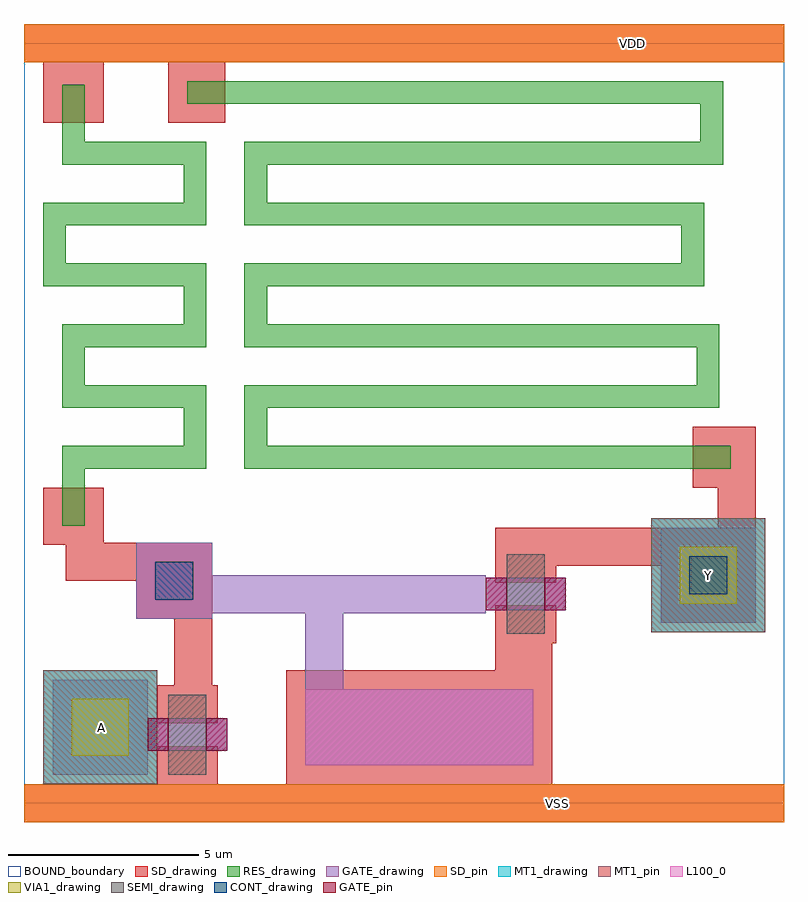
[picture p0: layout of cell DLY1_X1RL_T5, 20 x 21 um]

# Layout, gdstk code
from math import pi, radians
import gdstk
lib = gdstk.Library(unit=1e-6, precision=1e-09)
def R(c, l, rs):  # rectangles x0, y0, x1, y1
    for r in rs: c.add(gdstk.rectangle(r[:2], r[2:], *l))
def P(c, l, *ps):  # polygons
    for p in ps: c.add(gdstk.Polygon(p, *l))
RES_drawing = (1, 0)
SEMI_drawing = (3, 0)
SD_drawing = (10, 0)
SD_pin = (10, 3)
GATE_drawing = (11, 0)
GATE_pin = (11, 3)
MT1_drawing = (20, 0)
MT1_pin = (20, 3)
CONT_drawing = (30, 0)
VIA1_drawing = (41, 0)
L100_0 = (100, 0)
BOUND_boundary = (150, 5)

nch_cdns_772544866180 = lib.new_cell('nch_CDNS_772544866180')
R(nch_cdns_772544866180, SEMI_drawing, [(-1.05,-0.5,1.05,0.5)])
R(nch_cdns_772544866180, SD_drawing, [(-1.3,-0.8,-0.3,0.8), (0.3,-0.8,1.3,0.8)])
R(nch_cdns_772544866180, GATE_drawing, [(-0.425,-1.05,0.425,1.05)])
R(nch_cdns_772544866180, GATE_pin, [(-0.425,-1.05,0.425,-0.5), (-0.425,0.5,0.425,1.05)])

cap_cdns_772544866181 = lib.new_cell('cap_CDNS_772544866181')
R(cap_cdns_772544866181, SD_drawing, [(-3.5,-1.5,3.5,1.5)])
R(cap_cdns_772544866181, GATE_drawing, [(-3,-1,3,1)])
R(cap_cdns_772544866181, L100_0, [(-3,-1,3,1)])

gate_mt1_cdns_7725448661 = lib.new_cell('GATE_MT1_CDNS_772544866180')
R(gate_mt1_cdns_7725448661, GATE_drawing, [(-1.25,-1.25,1.25,1.25)])
R(gate_mt1_cdns_7725448661, MT1_drawing, [(-1.25,-1.25,1.25,1.25)])
R(gate_mt1_cdns_7725448661, VIA1_drawing, [(-0.75,-0.75,0.75,0.75)])

sd_gate_cdns_77254486618 = lib.new_cell('SD_GATE_CDNS_772544866181')
R(sd_gate_cdns_77254486618, SD_drawing, [(-1,-1,1,1)])
R(sd_gate_cdns_77254486618, GATE_drawing, [(-1,-1,1,1)])
R(sd_gate_cdns_77254486618, CONT_drawing, [(-0.5,-0.5,0.5,0.5)])

dly1_x1rl_t5 = lib.new_cell('DLY1_X1RL_T5')
R(dly1_x1rl_t5, SD_drawing, [(12.4,3.5,13.9,4.2), (16.75,4.75,19.25,7.25), (0.5,6.8,2.1,8.3), (17.6,8.3,19.25,9.9), (0.5,17.9,2.1,19.4), (3.8,17.9,5.3,19.5), (0.5,19.4,2.1,19.5)])
R(dly1_x1rl_t5, SD_pin, [(0,-0.5,20,0.5), (0,19.5,20,20.5)])
R(dly1_x1rl_t5, GATE_drawing, [(7.4,1,13.4,3)])
P(dly1_x1rl_t5, GATE_drawing, [(12.05,6),(12.05,5),(12.15,5),(12.15,5.125),(12.2,5.125),(12.2,5.875),(12.15,5.875),(12.15,6)],
  [(3.15,2.325),(3.15,1.325),(3.25,1.325),(3.25,1.425),(3.3,1.425),(3.3,2.175),(3.25,2.175),(3.25,2.325)])
R(dly1_x1rl_t5, MT1_drawing, [(0.5,0.5,3.5,3.5), (16.5,4.5,19.5,7.5)])
R(dly1_x1rl_t5, MT1_pin, [(0.5,0.5,3.5,3.5), (16.5,4.5,19.5,7.5)])
R(dly1_x1rl_t5, BOUND_boundary, [(0,0,20,20)])
dly1_x1rl_t5.add(gdstk.FlexPath([(12.05,5.5),(7.9,5.5)], 1, ends=(0, 0.5), simple_path=True, layer=11, datatype=0))  # GATE_drawing
dly1_x1rl_t5.add(gdstk.FlexPath([(7.9,5.5),(7.9,3)], 1, ends=(0.5, 0), simple_path=True, layer=11, datatype=0))  # GATE_drawing
dly1_x1rl_t5.add(gdstk.FlexPath([(3.75,5.5),(7.9,5.5)], 1, ends=(0, 0.5), simple_path=True, layer=11, datatype=0))  # GATE_drawing
dly1_x1rl_t5.add(gdstk.FlexPath([(18.75,6.75),(18.75,4.8)], 1, ends=(0.5, 0), simple_path=True, layer=10, datatype=0))  # SD_drawing
dly1_x1rl_t5.add(gdstk.FlexPath([(1.6,7),(1.6,6.35)], 1, ends=(0, 0.5), simple_path=True, layer=10, datatype=0))  # SD_drawing
dly1_x1rl_t5.add(gdstk.FlexPath([(18.75,6.75),(19.2,6.75)], 1, ends=(0.5, 0), simple_path=True, layer=10, datatype=0))  # SD_drawing
dly1_x1rl_t5.add(gdstk.FlexPath([(18.75,8.35),(18.75,6.75)], 1, ends=(0, 0.5), simple_path=True, layer=10, datatype=0))  # SD_drawing
dly1_x1rl_t5.add(gdstk.FlexPath([(12.4,6.75),(18.75,6.75)], 1, ends=(0, 0.5), simple_path=True, layer=10, datatype=0))  # SD_drawing
dly1_x1rl_t5.add(gdstk.FlexPath([(1.6,6.35),(3.95,6.35)], 1, ends="extended", simple_path=True, layer=10, datatype=0))  # SD_drawing
dly1_x1rl_t5.add(gdstk.FlexPath([(3.95,6.35),(3.95,6.1)], 1, ends=(0.5, 0.7), simple_path=True, layer=10, datatype=0))  # SD_drawing
dly1_x1rl_t5.add(gdstk.FlexPath([(4.45,6.35),(3.95,6.35)], 1, ends="extended", simple_path=True, layer=10, datatype=0))  # SD_drawing
dly1_x1rl_t5.add(gdstk.FlexPath([(4.45,3.1),(4.45,6.35)], 1, ends=(0, 0.5), simple_path=True, layer=10, datatype=0))  # SD_drawing
dly1_x1rl_t5.add(gdstk.FlexPath([(0,0),(20,0)], 1, ends="flush", simple_path=True, layer=10, datatype=0))  # SD_drawing
dly1_x1rl_t5.add(gdstk.FlexPath([(0,20),(20,20)], 1, ends="flush", simple_path=True, layer=10, datatype=0))  # SD_drawing
dly1_x1rl_t5.add(gdstk.FlexPath([(18.6,9.1),(6.1,9.1),(6.1,10.7),(18,10.7),(18,12.3),(6.1,12.3),(6.1,13.9),(17.6,13.9),(17.6,15.5),(6.1,15.5),(6.1,17.1),(18.1,17.1),(18.1,18.7),(4.3,18.7)], 0.6, ends="flush", simple_path=True, layer=1, datatype=0))  # RES_drawing
dly1_x1rl_t5.add(gdstk.FlexPath([(1.3,18.9),(1.3,17.1),(4.5,17.1),(4.5,15.5),(0.8,15.5),(0.8,13.9),(4.5,13.9),(4.5,12.3),(1.3,12.3),(1.3,10.7),(4.5,10.7),(4.5,9.1),(1.3,9.1),(1.3,7.3)], 0.6, ends="flush", simple_path=True, layer=1, datatype=0))  # RES_drawing
dly1_x1rl_t5.add(gdstk.Reference(nch_cdns_772544866180, (13.2,5.5), rotation=pi/2))
dly1_x1rl_t5.add(gdstk.Reference(nch_cdns_772544866180, (4.3,1.8), rotation=pi/2))
dly1_x1rl_t5.add(gdstk.Reference(cap_cdns_772544866181, (10.4,2)))
dly1_x1rl_t5.add(gdstk.Reference(gate_mt1_cdns_7725448661, (18,6)))
dly1_x1rl_t5.add(gdstk.Reference(gate_mt1_cdns_7725448661, (2,2)))
dly1_x1rl_t5.add(gdstk.Reference(sd_gate_cdns_77254486618, (18,6)))
dly1_x1rl_t5.add(gdstk.Reference(sd_gate_cdns_77254486618, (3.95,5.85)))
dly1_x1rl_t5.add(gdstk.Label('VDD', (16,20), layer=10, texttype=3))
dly1_x1rl_t5.add(gdstk.Label('VSS', (14.05,0), layer=10, texttype=3))
dly1_x1rl_t5.add(gdstk.Label('Y', (18,6), layer=20, texttype=3))
dly1_x1rl_t5.add(gdstk.Label('A', (2.05,2), layer=20, texttype=3))
dly1_x1rl_t5.add(gdstk.Label('Y', (18,6), layer=20, texttype=3))
dly1_x1rl_t5.add(gdstk.Label('A', (2,2), layer=20, texttype=3))
dly1_x1rl_t5.add(gdstk.Label('Y', (18,6), layer=20, texttype=3))
dly1_x1rl_t5.add(gdstk.Label('A', (2,1.95), layer=20, texttype=3))

lib.write_gds('DLY1_X1RL_T5.gds')
